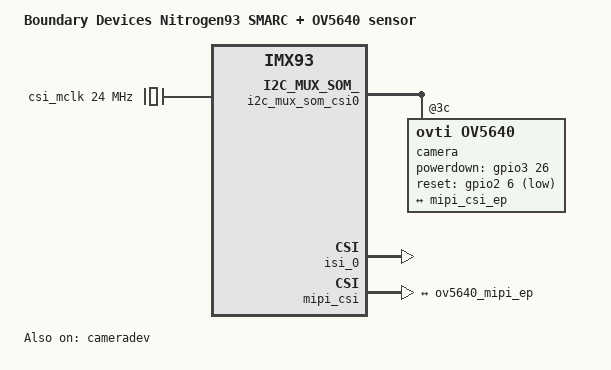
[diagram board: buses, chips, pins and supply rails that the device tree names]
// SPDX-License-Identifier: (GPL-2.0+ OR MIT)
/*
 * Copyright 2025 Ezurio LLC
 */

#include "imx93-nitrogen-smarc.dts"

/ {
	model = "Boundary Devices Nitrogen93 SMARC + OV5640 sensor";
	compatible = "ezurio,imx93-nitrogen-smarc-ov5640", "fsl,imx93";

	csi_mclk: csi-mclk {
		compatible = "fixed-clock";
		#clock-cells = <0>;
		clock-frequency = <24000000>;
		clock-output-names = "csi_mclk";
	};
};

&i2c_mux_som_csi0 {
	camera@3c {
		compatible = "ovti,ov5640";
		clocks = <&csi_mclk>;
		clock-names = "xclk";
		powerdown-gpios = <&gpio3 26 GPIO_ACTIVE_HIGH>;
		reset-gpios = <&gpio2 6 GPIO_ACTIVE_LOW>;
		reg = <0x3c>;
		status = "okay";

		port {
			ov5640_mipi_ep: endpoint {
				clock-lanes = <0>;
				data-lanes = <1 2>;
				remote-endpoint = <&mipi_csi_ep>;
			};
		};
	};
};

&cameradev {
	status = "okay";
};

&isi_0 {
	status = "okay";

	cap_device {
		status = "okay";
	};
};

&mipi_csi {
	status = "okay";

	port {
		mipi_csi_ep: endpoint {
			remote-endpoint = <&ov5640_mipi_ep>;
			data-lanes = <2>;
			cfg-clk-range = <28>;
			hs-clk-range = <0x16>;
			bus-type = <4>;
		};
	};
};
